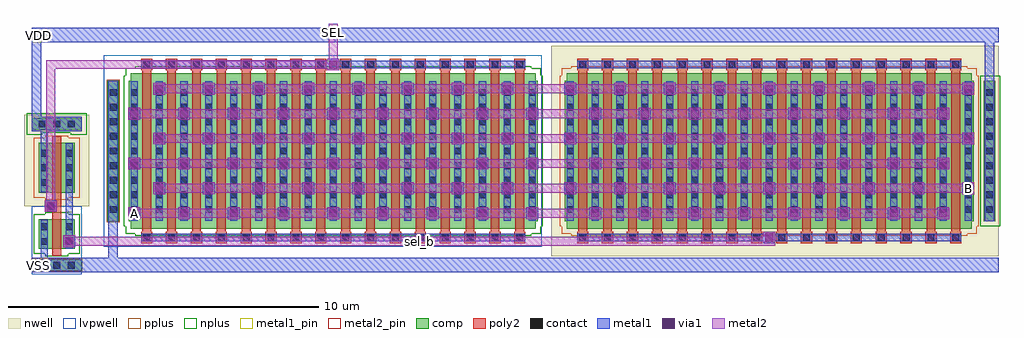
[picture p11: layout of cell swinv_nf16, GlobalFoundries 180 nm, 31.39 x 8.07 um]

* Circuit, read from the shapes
.subckt swinv_nf16 A B SEL VDD VSS sel_b
XM1 sel_b SEL VSS VSS nfet_03v3 w=0.95u l=0.28u
XM2 B SEL A VSS nfet_03v3 w=5u l=0.28u m=16
XM3 sel_b SEL VDD VDD pfet_03v3 w=1.6u l=0.28u
XM4 A sel_b B VDD pfet_03v3 w=5u l=0.28u m=16
.ends

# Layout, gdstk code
import gdstk
lib = gdstk.Library(unit=1e-6, precision=1e-09)
def R(c, l, rs):  # rectangles x0, y0, x1, y1
    for r in rs: c.add(gdstk.rectangle(r[:2], r[2:], *l))
def A(c, l, x, y, w, h, nx, ny, dx, dy):  # array of equal rectangles
    R(c, l, [(x+i*dx, y+j*dy, x+i*dx+w, y+j*dy+h) for i in range(nx) for j in range(ny)])
nwell = (21, 0)
comp = (22, 0)
poly2 = (30, 0)
pplus = (31, 0)
nplus = (32, 0)
contact = (33, 0)
metal1 = (34, 0)
metal1_pin = (34, 10)
via1 = (35, 0)
metal2 = (36, 0)
metal2_pin = (36, 10)
lvpwell = (204, 0)

pfet_03v3_zb7e4n = lib.new_cell('pfet_03v3_ZB7E4N')
R(pfet_03v3_zb7e4n, nwell, [(-7.01,-3.39,7.01,3.39)])
R(pfet_03v3_zb7e4n, comp, [(-6.515,-2.5,6.515,-2.255), (-6.58,-2.255,6.58,2.255), (-6.515,2.255,6.515,2.5)])
A(pfet_03v3_zb7e4n, poly2, -6.18, -2.96, 0.36, 0.36, 16, 2, 0.8, 5.56)
A(pfet_03v3_zb7e4n, poly2, -6.14, -2.6, 0.28, 5.2, 16, 1, 0.8, 0)
R(pfet_03v3_zb7e4n, pplus, [(-6.37,-2.73,6.37,-2.66), (-6.675,-2.66,6.675,-2.415), (-6.74,-2.415,6.74,2.415), (-6.675,2.415,6.675,2.66), (-6.37,2.66,6.37,2.73)])
A(pfet_03v3_zb7e4n, contact, -6.11, -2.89, 0.22, 0.22, 16, 2, 0.8, 5.56)
A(pfet_03v3_zb7e4n, contact, -6.51, -1.99, 0.22, 0.22, 17, 9, 0.8, 0.47)
A(pfet_03v3_zb7e4n, metal1, -6.17, -2.895, 0.34, 0.23, 16, 2, 0.8, 5.56)
A(pfet_03v3_zb7e4n, metal1, -6.515, -2.245, 0.23, 4.49, 17, 1, 0.8, 0)

nfet_03v3_y3x7zz = lib.new_cell('nfet_03v3_Y3X7ZZ')
R(nfet_03v3_y3x7zz, comp, [(-6.515,-2.5,6.515,-2.255), (-6.58,-2.255,6.58,2.255), (-6.515,2.255,6.515,2.5)])
A(nfet_03v3_y3x7zz, poly2, -6.18, -2.96, 0.36, 0.36, 16, 2, 0.8, 5.56)
A(nfet_03v3_y3x7zz, poly2, -6.14, -2.6, 0.28, 5.2, 16, 1, 0.8, 0)
R(nfet_03v3_y3x7zz, nplus, [(-6.37,-2.73,6.37,-2.66), (-6.675,-2.66,6.675,-2.415), (-6.74,-2.415,6.74,2.415), (-6.675,2.415,6.675,2.66), (-6.37,2.66,6.37,2.73)])
A(nfet_03v3_y3x7zz, contact, -6.11, -2.89, 0.22, 0.22, 16, 2, 0.8, 5.56)
A(nfet_03v3_y3x7zz, contact, -6.51, -1.99, 0.22, 0.22, 17, 9, 0.8, 0.47)
A(nfet_03v3_y3x7zz, metal1, -6.17, -2.895, 0.34, 0.23, 16, 2, 0.8, 5.56)
A(nfet_03v3_y3x7zz, metal1, -6.515, -2.245, 0.23, 4.49, 17, 1, 0.8, 0)
R(nfet_03v3_y3x7zz, lvpwell, [(-6.7,-3.08,6.7,3.08)])

switch_tg_analog_nf16 = lib.new_cell('switch_tg_analog_nf16')
R(switch_tg_analog_nf16, nwell, [(14.505,-3.39,28.895,3.39)])
R(switch_tg_analog_nf16, comp, [(0.235,-2.265,0.595,2.265), (28.415,-2.265,28.775,2.265)])
R(switch_tg_analog_nf16, pplus, [(0.205,-2.295,0.625,2.295)])
R(switch_tg_analog_nf16, nplus, [(28.305,-2.425,28.935,2.425)])
A(switch_tg_analog_nf16, contact, 0.305, -1.99, 0.22, 0.22, 1, 9, 0, 0.47)
A(switch_tg_analog_nf16, contact, 28.485, -1.99, 0.22, 0.22, 1, 9, 0, 0.47)
A(switch_tg_analog_nf16, metal1, 0.905, -2.19, 0.38, 0.38, 9, 3, 1.6, 1.6)
A(switch_tg_analog_nf16, metal1, 15.725, -2.19, 0.38, 0.38, 8, 3, 1.6, 1.6)
A(switch_tg_analog_nf16, metal1, 1.705, -1.39, 0.38, 0.38, 8, 3, 1.6, 1.6)
A(switch_tg_analog_nf16, metal1, 14.925, -1.39, 0.38, 0.38, 9, 3, 1.6, 1.6)
R(switch_tg_analog_nf16, metal1, [(1.325,-2.895,13.665,-2.665), (15.345,-2.895,27.685,-2.665), (0.265,-2.255,0.565,2.255), (28.445,-2.255,28.745,2.255), (1.325,2.665,13.665,2.895), (15.345,2.665,27.685,2.895)])
R(switch_tg_analog_nf16, metal1_pin, [(0.265,-0.5,0.565,0.5), (28.445,-0.5,28.745,0.5), (1.325,2.665,13.665,2.895), (15.345,2.665,27.685,2.895)])
A(switch_tg_analog_nf16, via1, 0.965, -2.13, 0.26, 0.26, 9, 3, 1.6, 1.6)
A(switch_tg_analog_nf16, via1, 15.785, -2.13, 0.26, 0.26, 8, 3, 1.6, 1.6)
A(switch_tg_analog_nf16, via1, 1.765, -1.33, 0.26, 0.26, 8, 3, 1.6, 1.6)
A(switch_tg_analog_nf16, via1, 14.985, -1.33, 0.26, 0.26, 9, 3, 1.6, 1.6)
A(switch_tg_analog_nf16, metal2, 0.905, -2.19, 0.38, 0.05, 9, 2, 1.6, 0.33)
A(switch_tg_analog_nf16, metal2, 15.725, -2.19, 0.38, 0.05, 8, 2, 1.6, 0.33)
A(switch_tg_analog_nf16, metal2, 0.905, -2.14, 26.4, 0.28, 1, 3, 0, 1.6)
A(switch_tg_analog_nf16, metal2, 1.705, -1.39, 0.38, 0.05, 8, 2, 1.6, 0.33)
A(switch_tg_analog_nf16, metal2, 14.925, -1.39, 0.38, 0.05, 9, 2, 1.6, 0.33)
A(switch_tg_analog_nf16, metal2, 1.705, -1.34, 26.4, 0.28, 1, 3, 0, 1.6)
A(switch_tg_analog_nf16, metal2, 0.905, -0.59, 0.38, 0.05, 9, 2, 1.6, 0.33)
A(switch_tg_analog_nf16, metal2, 15.725, -0.59, 0.38, 0.05, 8, 2, 1.6, 0.33)
A(switch_tg_analog_nf16, metal2, 1.705, 0.21, 0.38, 0.05, 8, 2, 1.6, 0.33)
A(switch_tg_analog_nf16, metal2, 14.925, 0.21, 0.38, 0.05, 9, 2, 1.6, 0.33)
A(switch_tg_analog_nf16, metal2, 0.905, 1.01, 0.38, 0.05, 9, 2, 1.6, 0.33)
A(switch_tg_analog_nf16, metal2, 15.725, 1.01, 0.38, 0.05, 8, 2, 1.6, 0.33)
A(switch_tg_analog_nf16, metal2, 1.705, 1.81, 0.38, 0.05, 8, 2, 1.6, 0.33)
A(switch_tg_analog_nf16, metal2, 14.925, 1.81, 0.38, 0.05, 9, 2, 1.6, 0.33)
R(switch_tg_analog_nf16, metal2_pin, [(0.905,-2.14,1.285,-1.86), (27.725,-1.34,28.105,-1.06)])
R(switch_tg_analog_nf16, lvpwell, [(0.115,-3.08,14.195,3.08)])
switch_tg_analog_nf16.add(gdstk.Reference(pfet_03v3_zb7e4n, (21.515,0)))
switch_tg_analog_nf16.add(gdstk.Reference(nfet_03v3_y3x7zz, (7.495,0)))
switch_tg_analog_nf16.add(gdstk.Label('G', (7.495,2.78), layer=34, texttype=10))
switch_tg_analog_nf16.add(gdstk.Label('GB', (21.515,2.78), layer=34, texttype=10))
switch_tg_analog_nf16.add(gdstk.Label('VSS', (0.415,0), layer=34, texttype=10))
switch_tg_analog_nf16.add(gdstk.Label('VDD', (28.595,0), layer=34, texttype=10))
switch_tg_analog_nf16.add(gdstk.Label('A', (1.095,-2), layer=36, texttype=10))
switch_tg_analog_nf16.add(gdstk.Label('B', (27.915,-1.2), layer=36, texttype=10))

logic_inverter_1x = lib.new_cell('logic_inverter_1x')
R(logic_inverter_1x, nwell, [(-0.25,2.13,1.85,5.07)])
R(logic_inverter_1x, comp, [(0,0.05,1.6,0.41), (0.22,0.75,1.38,1.7), (0.22,2.56,1.38,4.16), (0,4.59,1.6,4.95)])
R(logic_inverter_1x, poly2, [(0.66,0.53,0.94,1.95), (0.42,1.95,0.94,2.31), (0.66,2.31,0.94,4.38)])
R(logic_inverter_1x, pplus, [(0.105,0.02,1.495,0.03), (-0.02,0.03,1.62,0.43), (0.105,0.43,1.495,0.44), (0.43,2.33,1.17,2.4), (0.06,2.4,1.54,4.32), (0.43,4.32,1.17,4.39)])
R(logic_inverter_1x, nplus, [(0.43,0.52,1.17,0.59), (0.06,0.59,1.54,1.86), (0.43,1.86,1.17,1.93), (-0.16,4.43,0.34,4.48), (1.26,4.43,1.76,4.48), (-0.16,4.48,1.76,5.11)])
A(logic_inverter_1x, contact, 0.22, 0.12, 0.22, 0.22, 3, 2, 0.47, 4.54)
A(logic_inverter_1x, contact, 0.29, 2.78, 0.22, 0.22, 1, 3, 0, 0.47)
A(logic_inverter_1x, contact, 1.09, 2.78, 0.22, 0.22, 1, 3, 0, 0.47)
R(logic_inverter_1x, contact, [(0.29,0.88,0.51,1.1), (1.09,0.88,1.31,1.1), (0.29,1.35,0.51,1.57), (1.09,1.35,1.31,1.57), (0.49,2.02,0.71,2.24)])
R(logic_inverter_1x, metal1, [(0,0,1.6,0.46), (0.285,0.46,0.515,1.69), (1.085,0.76,1.315,4.15), (0.42,1.94,0.8,2.32), (0.285,2.57,0.515,4.54), (0,4.54,1.6,5)])
R(logic_inverter_1x, metal1_pin, [(0,0,1.6,0.46), (1.085,1.93,1.315,2.33), (0.42,1.94,0.8,2.32), (0,4.54,1.6,5)])
R(logic_inverter_1x, lvpwell, [(0,-0.07,1.6,2.13)])
logic_inverter_1x.add(gdstk.Label('IN', (0.61,2.13), layer=34, texttype=10))
logic_inverter_1x.add(gdstk.Label('OUT', (1.2,2.13), layer=34, texttype=10))
logic_inverter_1x.add(gdstk.Label('VDD', (0.8,4.77), layer=34, texttype=10))
logic_inverter_1x.add(gdstk.Label('VSS', (0.8,0.23), layer=34, texttype=10))

swinv_nf16 = lib.new_cell('swinv_nf16')
R(swinv_nf16, metal1, [(0,0,31.095,0.46), (2.465,0.46,2.765,1.9), (1.01,0.81,1.39,1.19), (23.525,0.93,23.905,1.31), (0.42,1.94,0.8,2.32), (0,4.54,0.3,7.4), (30.645,5.9,30.945,7.4), (9.505,6.49,9.885,6.87), (0,7.4,31.095,7.86)])
R(swinv_nf16, metal1_pin, [(0,0,0.46,0.46), (0,7.4,0.46,7.86)])
R(swinv_nf16, via1, [(1.07,0.87,1.33,1.13), (23.585,0.99,23.845,1.25), (0.48,2,0.74,2.26), (9.565,6.55,9.825,6.81)])
R(swinv_nf16, metal2, [(1.01,0.81,1.39,0.86), (1.01,0.86,23.905,1.14), (1.01,1.14,1.39,1.19), (23.525,1.14,23.905,1.31), (3.105,1.76,3.485,2.04), (0.42,1.94,0.8,2.32), (0.47,2.32,0.75,6.54), (29.925,2.56,30.305,2.84), (9.505,6.49,9.885,6.54), (0.47,6.54,9.885,6.82), (9.505,6.82,9.885,6.87), (9.555,6.87,9.835,8)])
R(swinv_nf16, metal2_pin, [(3.105,1.76,3.485,2.04), (29.925,2.56,30.305,2.84), (9.555,7.56,9.835,7.86)])
swinv_nf16.add(gdstk.Reference(switch_tg_analog_nf16, (2.2,3.9)))
swinv_nf16.add(gdstk.Reference(logic_inverter_1x, (0,0)))
swinv_nf16.add(gdstk.Label('VSS', (0.23,0.23), layer=34, texttype=10))
swinv_nf16.add(gdstk.Label('VDD', (0.23,7.63), layer=34, texttype=10))
swinv_nf16.add(gdstk.Label('sel_b', (12.46,1), layer=36, texttype=0))
swinv_nf16.add(gdstk.Label('SEL', (9.695,7.71), layer=36, texttype=10))
swinv_nf16.add(gdstk.Label('A', (3.295,1.9), layer=36, texttype=10))
swinv_nf16.add(gdstk.Label('B', (30.115,2.7), layer=36, texttype=10))

lib.write_gds('swinv_nf16.gds')
